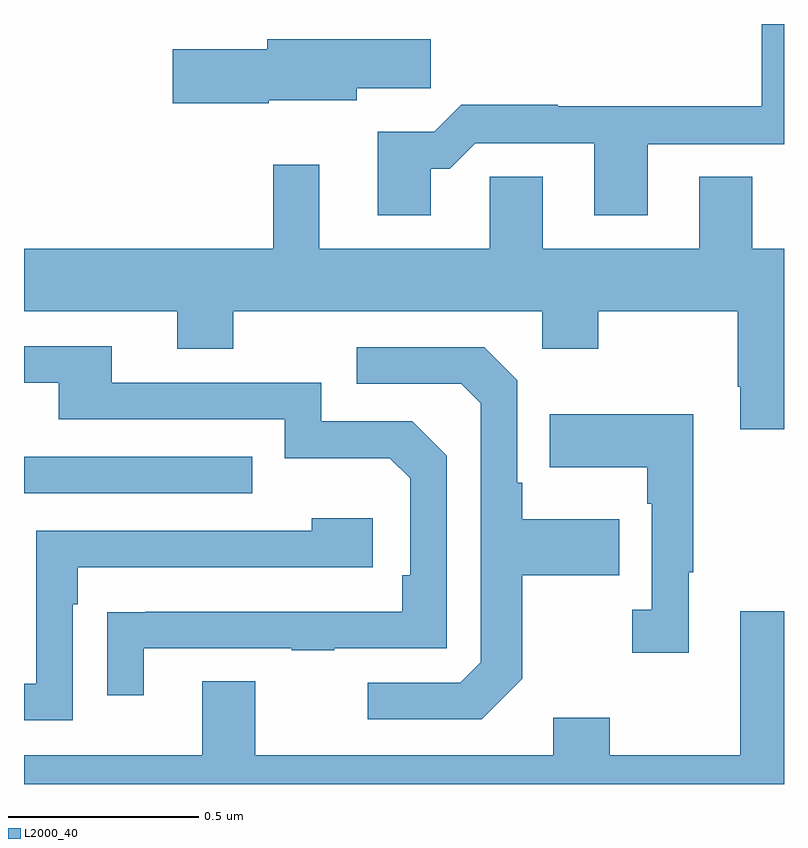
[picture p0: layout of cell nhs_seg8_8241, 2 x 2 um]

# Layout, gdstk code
import gdstk
lib = gdstk.Library(unit=1e-6, precision=1e-09)
def R(c, l, rs):  # rectangles x0, y0, x1, y1
    for r in rs: c.add(gdstk.rectangle(r[:2], r[2:], *l))
def P(c, l, *ps):  # polygons
    for p in ps: c.add(gdstk.Polygon(p, *l))
L2000_40 = (2000, 40)

nhs_seg8_8241 = lib.new_cell('nhs_seg8_8241')
R(nhs_seg8_8241, L2000_40, [(220,1138.665,220.601,1138.761)])
P(nhs_seg8_8241, L2000_40, [(221.071,1139.519),(221.12,1139.519),(221.187,1139.586),(221.501,1139.586),(221.501,1139.397),(221.641,1139.397),(221.641,1139.583),(222,1139.583),(222,1139.9),(221.942,1139.9),(221.942,1139.684),(221.405,1139.684),(221.405,1139.687),(221.15,1139.687),(221.08,1139.617),(220.931,1139.617),(220.931,1139.397),(221.071,1139.397)],
  [(220.644,1139.699),(220.876,1139.699),(220.876,1139.731),(221.071,1139.731),(221.071,1139.86),(220.64,1139.86),(220.64,1139.834),(220.392,1139.834),(220.392,1139.692),(220.644,1139.692)],
  [(222,1139.308),(221.917,1139.308),(221.917,1139.498),(221.777,1139.498),(221.777,1139.308),(221.365,1139.308),(221.365,1139.498),(221.226,1139.498),(221.226,1139.308),(220.777,1139.308),(220.777,1139.53),(220.656,1139.53),(220.656,1139.308),(220,1139.308),(220,1139.144),(220.403,1139.144),(220.403,1139.045),(220.551,1139.045),(220.551,1139.144),(221.364,1139.144),(221.364,1139.045),(221.511,1139.045),(221.511,1139.144),(221.878,1139.144),(221.878,1138.945),(221.885,1138.945),(221.885,1138.833),(222,1138.833)],
  [(220.315,1138.257),(220.705,1138.257),(220.705,1138.252),(220.817,1138.252),(220.817,1138.257),(221.112,1138.257),(221.112,1138.764),(221.022,1138.854),(220.782,1138.854),(220.782,1138.956),(220.231,1138.956),(220.231,1139.052),(220,1139.052),(220,1138.956),(220.091,1138.956),(220.091,1138.86),(220.686,1138.86),(220.686,1138.757),(220.963,1138.757),(221.016,1138.704),(221.016,1138.45),(220.996,1138.45),(220.996,1138.353),(220.321,1138.353),(220.321,1138.352),(220.219,1138.352),(220.219,1138.134),(220.315,1138.134)],
  [(221.311,1138.177),(221.311,1138.45),(221.567,1138.45),(221.567,1138.597),(221.311,1138.597),(221.311,1138.693),(221.298,1138.693),(221.298,1138.962),(221.211,1139.049),(220.875,1139.049),(220.875,1138.953),(221.151,1138.953),(221.202,1138.902),(221.202,1138.221),(221.148,1138.167),(220.905,1138.167),(220.905,1138.071),(221.205,1138.071)],
  [(221.749,1138.457),(221.761,1138.457),(221.761,1138.873),(221.383,1138.873),(221.383,1138.733),(221.64,1138.733),(221.64,1138.637),(221.652,1138.637),(221.652,1138.358),(221.601,1138.358),(221.601,1138.245),(221.749,1138.245)],
  [(220.128,1138.373),(220.141,1138.373),(220.141,1138.47),(220.918,1138.47),(220.918,1138.6),(220.757,1138.6),(220.757,1138.566),(220.032,1138.566),(220.032,1138.164),(220,1138.164),(220,1138.068),(220.128,1138.068)],
  [(222,1138.354),(221.885,1138.354),(221.885,1137.976),(221.541,1137.976),(221.541,1138.075),(221.393,1138.075),(221.393,1137.976),(220.609,1137.976),(220.609,1138.171),(220.469,1138.171),(220.469,1137.976),(220,1137.976),(220,1137.9),(222,1137.9)])

lib.write_gds('nhs_seg8_8241.gds')
